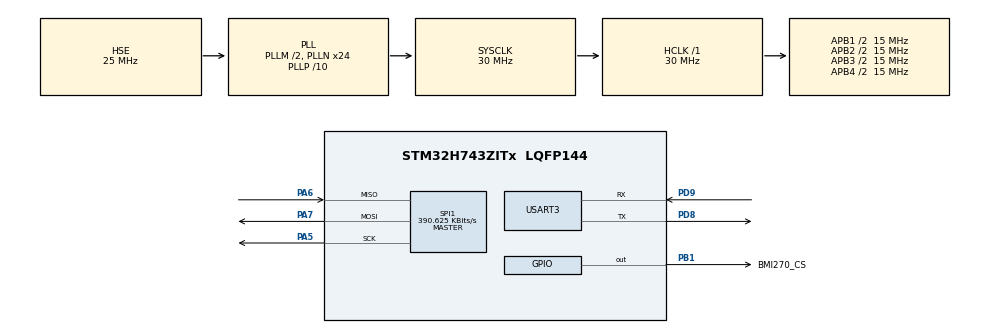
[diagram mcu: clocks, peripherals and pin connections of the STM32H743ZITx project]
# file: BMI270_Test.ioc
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CORTEX_M7.default_mode_Activation=1
Mcu.Family=STM32H7
Mcu.Name=STM32H743ZITx
Mcu.Package=LQFP144
NVIC.PriorityGroup=NVIC_PRIORITYGROUP_4
NVIC.USART3_IRQn=true\:0\:0\:false\:false\:true\:true\:true\:true
PA5.GPIO_Mode=GPIO_MODE_AF_PP
PA5.GPIO_PuPd=GPIO_NOPULL
PA5.GPIO_Speed=GPIO_SPEED_FREQ_LOW
PA5.Mode=Full_Duplex_Master
PA5.Signal=SPI1_SCK
PA6.GPIO_Speed=GPIO_SPEED_FREQ_LOW
PA6.Mode=Full_Duplex_Master
PA6.Signal=SPI1_MISO
PA7.GPIO_Speed=GPIO_SPEED_FREQ_LOW
PA7.Mode=Full_Duplex_Master
PA7.Signal=SPI1_MOSI
PB1.GPIO_Label=BMI270_CS
PB1.GPIO_Speed=GPIO_SPEED_FREQ_LOW
PB1.PinState=GPIO_PIN_SET
PB1.Signal=GPIO_Output
PD8.Mode=Asynchronous
PD8.Signal=USART3_TX
PD9.Mode=Asynchronous
PD9.Signal=USART3_RX
PH0-OSC_IN\ (PH0).Mode=HSE-External-Oscillator
PH0-OSC_IN\ (PH0).Signal=RCC_OSC_IN
PH1-OSC_OUT\ (PH1).Mode=HSE-External-Oscillator
PH1-OSC_OUT\ (PH1).Signal=RCC_OSC_OUT
ProjectManager.HeapSize=0x200
ProjectManager.StackSize=0x400
ProjectManager.TargetToolchain=STM32CubeIDE
RCC.ADCFreq_Value=50390625
RCC.APB1Freq_Value=15000000
RCC.APB2Freq_Value=15000000
RCC.APB3Freq_Value=15000000
RCC.APB4Freq_Value=15000000
RCC.CortexFreq_Value=30000000
RCC.D1PPRE=RCC_APB3_DIV2
RCC.D2PPRE1=RCC_APB1_DIV2
RCC.D2PPRE2=RCC_APB2_DIV2
RCC.D3PPRE=RCC_APB4_DIV2
RCC.DIVM1=2
RCC.DIVN1=24
RCC.DIVP1=10
RCC.DIVQ1=3
RCC.HCLKFreq_Value=30000000
RCC.PLLSourceVirtual=RCC_PLLSOURCE_HSE
RCC.SYSCLKFreq_VALUE=30000000
RCC.SYSCLKSource=RCC_SYSCLKSOURCE_PLLCLK
RCC.USBFreq_Value=100000000
SPI1.BaudRatePrescaler=SPI_BAUDRATEPRESCALER_256
SPI1.CLKPhase=SPI_PHASE_2EDGE
SPI1.CLKPolarity=SPI_POLARITY_HIGH
SPI1.CalculateBaudRate=390.625 KBits/s
SPI1.DataSize=SPI_DATASIZE_8BIT
SPI1.Direction=SPI_DIRECTION_2LINES
SPI1.Mode=SPI_MODE_MASTER
SPI1.NSSPMode=SPI_NSS_PULSE_DISABLE
SPI1.VirtualType=VM_MASTER
USART3.VirtualMode-Asynchronous=VM_ASYNC
VP_MEMORYMAP_VS_MEMORYMAP.Mode=CurAppReg
board=custom

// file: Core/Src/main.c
/* USER CODE BEGIN Header */
/**
  ******************************************************************************
  * @file           : main.c
  * @brief          : Main program body
  ******************************************************************************
  * @attention
  *
  * Copyright (c) 2026 STMicroelectronics.
  * All rights reserved.
  *
  * This software is licensed under terms that can be found in the LICENSE file
  * in the root directory of this software component.
  * If no LICENSE file comes with this software, it is provided AS-IS.
  *
  ******************************************************************************
  */
/* USER CODE END Header */
#include "main.h"

/* USER CODE BEGIN Includes */
#include "bmi270.h"
#include <stdio.h>
#include <string.h> // Added for safety with strings

#define BMI270_CS_Pin GPIO_PIN_1
#define BMI270_CS_GPIO_Port GPIOB
/* USER CODE END Includes */

SPI_HandleTypeDef hspi1;

UART_HandleTypeDef huart3;

/* USER CODE BEGIN PV */
extern const uint8_t bmi270_config_file[];
#define BMI270_CHIP_ID_ADDR 0x80  // 0x00 | 0x80 for Read
#define BMI270_CMD_REG      0x7E
#define BMI270_PWR_CONF     0x7C
#define BMI270_PWR_CTRL     0x7D
#define BMI270_INIT_CTRL    0x59
#define BMI270_INIT_ADDR_0  0x5B
#define BMI270_INIT_ADDR_1  0x5C
#define BMI270_INIT_DATA    0x5E
#define BMI270_INTERNAL_STAT 0x21

uint8_t chipID = 0;
uint8_t sensor_data[12]; // To hold Accel and Gyro raw bytes
/* USER CODE END PV */

void SystemClock_Config(void);
static void MPU_Config(void);
static void MX_GPIO_Init(void);
static void MX_SPI1_Init(void);
static void MX_USART3_UART_Init(void);
float BMI270_ReadTemp(void);
/* USER CODE BEGIN PFP */
void BMI270_WriteReg(uint8_t reg, uint8_t data);
#ifdef __GNUC__
#define PUTCHAR_PROTOTYPE int __io_putchar(int ch)
#else
#define PUTCHAR_PROTOTYPE int fputc(int ch, FILE *f)
#endif

PUTCHAR_PROTOTYPE
{
  extern UART_HandleTypeDef huart3; // Use huart3 for Nucleo USB
  HAL_UART_Transmit(&huart3, (uint8_t *)&ch, 1, HAL_MAX_DELAY);
  return ch;
}
/* USER CODE END PFP */

/* USER CODE BEGIN 0 */

int8_t user_spi_read(uint8_t reg_addr, uint8_t *reg_data, uint32_t len, void *intf_ptr) {
    uint8_t tx_addr = reg_addr | 0x80; // Set bit 7 for Read
    uint8_t rx_buf[len + 1];           // Buffer for dummy + data
    memset(rx_buf, 0, len + 1);

    HAL_GPIO_WritePin(BMI270_CS_GPIO_Port, BMI270_CS_Pin, GPIO_PIN_RESET);

    // 1. Send the address
    if(HAL_SPI_Transmit(&hspi1, &tx_addr, 1, 100) != HAL_OK) {
        HAL_GPIO_WritePin(BMI270_CS_GPIO_Port, BMI270_CS_Pin, GPIO_PIN_SET);
        return -1;
    }

    // 2. Receive Dummy Byte + Actual Data
    if(HAL_SPI_Receive(&hspi1, rx_buf, len + 1, 100) != HAL_OK) {
        HAL_GPIO_WritePin(BMI270_CS_GPIO_Port, BMI270_CS_Pin, GPIO_PIN_SET);
        return -1;
    }

    HAL_GPIO_WritePin(BMI270_CS_GPIO_Port, BMI270_CS_Pin, GPIO_PIN_SET);

    // 3. Data starts at index 1 (rx_buf[0] is the dummy/empty byte)
    for(uint32_t i = 0; i < len; i++) {
        reg_data[i] = rx_buf[i + 1];
    }

    return 0;
}

void user_delay_us(uint32_t period, void *intf_ptr) {
    // Force a slower delay for the H7. 20ms becomes 30ms.
    HAL_Delay((period / 1000) + 10);
}

/* USER CODE END 0 */

int main(void)
{

  /* MPU Configuration--------------------------------------------------------*/
  MPU_Config();

  /* MCU Configuration--------------------------------------------------------*/

  /* Reset of all peripherals, Initializes the Flash interface and the Systick. */
  HAL_Init();

  /* Configure the system clock */
  SystemClock_Config();

  /* Initialize all configured peripherals */
  MX_GPIO_Init();
  MX_SPI1_Init();
  MX_USART3_UART_Init();
  /* USER CODE BEGIN 2 */
    uint8_t status = 0;

    // 1. Force SPI Mode (Toggle CSB)
    HAL_GPIO_WritePin(BMI270_CS_GPIO_Port, BMI270_CS_Pin, GPIO_PIN_SET);
    HAL_Delay(5);
    HAL_GPIO_WritePin(BMI270_CS_GPIO_Port, BMI270_CS_Pin, GPIO_PIN_RESET);
    HAL_Delay(1);
    HAL_GPIO_WritePin(BMI270_CS_GPIO_Port, BMI270_CS_Pin, GPIO_PIN_SET);
    HAL_Delay(5);

    // 2. READ SENSOR ID
    user_spi_read(0x00, &chipID, 1, NULL);

    // Bit-shift fix for the current clock mismatch
    if(chipID == 0x48) chipID = chipID >> 1;

    printf("BMI270 Chip ID Detected: 0x%02X\r\n", chipID);

    if(chipID != 0x24) {
        printf("Wrong Chip ID! Check SPI clock speed.\r\n");
    }

    // 3. SOFT RESET
    printf("Resetting sensor...\r\n");
    BMI270_WriteReg(BMI270_CMD_REG, 0xB6);
    HAL_Delay(100); // Increased delay for slower clock

    // 4. IMPORTANT: Re-select SPI mode after Reset
    HAL_GPIO_WritePin(BMI270_CS_GPIO_Port, BMI270_CS_Pin, GPIO_PIN_RESET);
    HAL_Delay(1);
    HAL_GPIO_WritePin(BMI270_CS_GPIO_Port, BMI270_CS_Pin, GPIO_PIN_SET);
    HAL_Delay(10);

    // 5. Prepare for Config (Disable advanced power save)
    BMI270_WriteReg(BMI270_PWR_CONF, 0x00);
    HAL_Delay(10);
    BMI270_WriteReg(BMI270_INIT_CTRL, 0x00);
    HAL_Delay(10);

    // 6. UPLOAD CONFIG (Ignore Receiver)
        printf("Starting Upload (Ignoring MISO)...\r\n");
        uint8_t init_addr = BMI270_INIT_DATA;

        // Change SPI to Transmit Only for the upload duration
        // Correct H7 way to set Simplex Transmit (ignores MISO)
        hspi1.Instance->CFG2 |= SPI_CFG2_COMM_0;

        HAL_GPIO_WritePin(BMI270_CS_GPIO_Port, BMI270_CS_Pin, GPIO_PIN_RESET);
        HAL_SPI_Transmit(&hspi1, &init_addr, 1, 100);
        HAL_SPI_Transmit(&hspi1, (uint8_t*)bmi270_config_file, 8192, 1000);
        HAL_GPIO_WritePin(BMI270_CS_GPIO_Port, BMI270_CS_Pin, GPIO_PIN_SET);

        // Switch back to 2-way communication
        // Restore Full-Duplex (2-way) communication
        hspi1.Instance->CFG2 &= ~SPI_CFG2_COMM;

        printf("Upload finished! Reconnect MISO now.\r\n");
        BMI270_WriteReg(BMI270_INIT_CTRL, 0x01); // Tell BMI270 to start firmware boot
        HAL_Delay(500); // Give it a long time to boot (0.5s)

    // 7. CHECK STATUS
    user_spi_read(0x21, &status, 1, NULL);
    if((status & 0x0F) == 0x01) {
        printf("BMI270 Initialization SUCCESS!\r\n");
    } else {
        printf("Initialization FAILED. Status: 0x%02X\r\n", status);
        // If 0x00, the 8KB file didn't load. Check SPI wires.
    }

    // 8. ENABLE SENSORS
    BMI270_WriteReg(BMI270_PWR_CTRL, 0x03);
    BMI270_WriteReg(BMI270_PWR_CONF, 0x02);
  /* USER CODE END 2 */

    /* Infinite loop */
      /* USER CODE BEGIN WHILE */
      while (1)
      {
          // 1. Force Power Control: Enable Accel (bit 2), Gyro (bit 1), and Temperature (bit 3)
          BMI270_WriteReg(0x7D, 0x0E);

          // 2. Read 12 bytes starting from Register 0x0C (Accel + Gyro data)
          if (user_spi_read(0x0C, sensor_data, 12, NULL) == 0) {
        	  float current_temp = BMI270_ReadTemp();

              // Convert to signed 16-bit integers
              int16_t acc_x_raw = (int16_t)((sensor_data[1] << 8) | sensor_data[0]);
              int16_t acc_y_raw = (int16_t)((sensor_data[3] << 8) | sensor_data[2]);
              int16_t acc_z_raw = (int16_t)((sensor_data[5] << 8) | sensor_data[4]);

              int16_t gyr_x_raw = (int16_t)((sensor_data[7] << 8) | sensor_data[6]);
              int16_t gyr_y_raw = (int16_t)((sensor_data[9] << 8) | sensor_data[8]);
              int16_t gyr_z_raw = (int16_t)((sensor_data[11] << 8) | sensor_data[10]);

              // Convert to physical units
              float g_x = (float)acc_x_raw / 16384.0f;
              float g_y = (float)acc_y_raw / 16384.0f;
              float g_z = (float)acc_z_raw / 16384.0f;

              float dps_x = (float)gyr_x_raw / 16.384f;
              float dps_y = (float)gyr_y_raw / 16.384f;
              float dps_z = (float)gyr_z_raw / 16.384f;

              // RECTIFICATION: Python script expects 7 values (temp + 6 sensor values)
              // Using a placeholder 25.0 for temp since get_bmi270_temp prototype was missing
              printf("%2f,%.3f,%.3f,%.3f,%.2f,%.2f,%.2f\r\n",
                     current_temp,g_x, g_y, g_z, dps_x, dps_y, dps_z);
          }

          HAL_Delay(20); // 50Hz for smooth VPython animation
        /* USER CODE END WHILE */
      }
}

void SystemClock_Config(void)
{
  RCC_OscInitTypeDef RCC_OscInitStruct = {0};
  RCC_ClkInitTypeDef RCC_ClkInitStruct = {0};

  /** Supply configuration update enable
  */
  HAL_PWREx_ConfigSupply(PWR_LDO_SUPPLY);

  /** Configure the main internal regulator output voltage
  */
  __HAL_PWR_VOLTAGESCALING_CONFIG(PWR_REGULATOR_VOLTAGE_SCALE3);

  while(!__HAL_PWR_GET_FLAG(PWR_FLAG_VOSRDY)) {}

  /** Initializes the RCC Oscillators according to the specified parameters
  * in the RCC_OscInitTypeDef structure.
  */
  RCC_OscInitStruct.OscillatorType = RCC_OSCILLATORTYPE_HSE;
  RCC_OscInitStruct.HSEState = RCC_HSE_ON;
  RCC_OscInitStruct.PLL.PLLState = RCC_PLL_ON;
  RCC_OscInitStruct.PLL.PLLSource = RCC_PLLSOURCE_HSE;
  RCC_OscInitStruct.PLL.PLLM = 2;
  RCC_OscInitStruct.PLL.PLLN = 24;
  RCC_OscInitStruct.PLL.PLLP = 10;
  RCC_OscInitStruct.PLL.PLLQ = 3;
  RCC_OscInitStruct.PLL.PLLR = 2;
  RCC_OscInitStruct.PLL.PLLRGE = RCC_PLL1VCIRANGE_3;
  RCC_OscInitStruct.PLL.PLLVCOSEL = RCC_PLL1VCOWIDE;
  RCC_OscInitStruct.PLL.PLLFRACN = 0;
  if (HAL_RCC_OscConfig(&RCC_OscInitStruct) != HAL_OK)
  {
    Error_Handler();
  }

  /** Initializes the CPU, AHB and APB buses clocks
  */
  RCC_ClkInitStruct.ClockType = RCC_CLOCKTYPE_HCLK|RCC_CLOCKTYPE_SYSCLK
                              |RCC_CLOCKTYPE_PCLK1|RCC_CLOCKTYPE_PCLK2
                              |RCC_CLOCKTYPE_D3PCLK1|RCC_CLOCKTYPE_D1PCLK1;
  RCC_ClkInitStruct.SYSCLKSource = RCC_SYSCLKSOURCE_PLLCLK;
  RCC_ClkInitStruct.SYSCLKDivider = RCC_SYSCLK_DIV1;
  RCC_ClkInitStruct.AHBCLKDivider = RCC_HCLK_DIV1;
  RCC_ClkInitStruct.APB3CLKDivider = RCC_APB3_DIV2;
  RCC_ClkInitStruct.APB1CLKDivider = RCC_APB1_DIV2;
  RCC_ClkInitStruct.APB2CLKDivider = RCC_APB2_DIV2;
  RCC_ClkInitStruct.APB4CLKDivider = RCC_APB4_DIV2;

  if (HAL_RCC_ClockConfig(&RCC_ClkInitStruct, FLASH_LATENCY_0) != HAL_OK)
  {
    Error_Handler();
  }
}

static void MX_SPI1_Init(void)
{

  /* SPI1 parameter configuration*/
  hspi1.Instance = SPI1;
  hspi1.Init.Mode = SPI_MODE_MASTER;
  hspi1.Init.Direction = SPI_DIRECTION_2LINES;
  hspi1.Init.DataSize = SPI_DATASIZE_8BIT;
  hspi1.Init.CLKPolarity = SPI_POLARITY_HIGH;
  hspi1.Init.CLKPhase = SPI_PHASE_2EDGE;
  hspi1.Init.NSS = SPI_NSS_SOFT;
  hspi1.Init.BaudRatePrescaler = SPI_BAUDRATEPRESCALER_256;
  hspi1.Init.FirstBit = SPI_FIRSTBIT_MSB;
  hspi1.Init.TIMode = SPI_TIMODE_DISABLE;
  hspi1.Init.CRCCalculation = SPI_CRCCALCULATION_DISABLE;
  hspi1.Init.CRCPolynomial = 0x0;
  hspi1.Init.NSSPMode = SPI_NSS_PULSE_DISABLE;
  hspi1.Init.NSSPolarity = SPI_NSS_POLARITY_LOW;
  hspi1.Init.FifoThreshold = SPI_FIFO_THRESHOLD_01DATA;
  hspi1.Init.TxCRCInitializationPattern = SPI_CRC_INITIALIZATION_ALL_ZERO_PATTERN;
  hspi1.Init.RxCRCInitializationPattern = SPI_CRC_INITIALIZATION_ALL_ZERO_PATTERN;
  hspi1.Init.MasterSSIdleness = SPI_MASTER_SS_IDLENESS_00CYCLE;
  hspi1.Init.MasterInterDataIdleness = SPI_MASTER_INTERDATA_IDLENESS_00CYCLE;
  hspi1.Init.MasterReceiverAutoSusp = SPI_MASTER_RX_AUTOSUSP_DISABLE;
  hspi1.Init.MasterKeepIOState = SPI_MASTER_KEEP_IO_STATE_DISABLE;
  hspi1.Init.IOSwap = SPI_IO_SWAP_DISABLE;
  if (HAL_SPI_Init(&hspi1) != HAL_OK)
  {
    Error_Handler();
  }

}

static void MX_USART3_UART_Init(void)
{

  huart3.Instance = USART3;
  huart3.Init.BaudRate = 115200;
  huart3.Init.WordLength = UART_WORDLENGTH_8B;
  huart3.Init.StopBits = UART_STOPBITS_1;
  huart3.Init.Parity = UART_PARITY_NONE;
  huart3.Init.Mode = UART_MODE_TX_RX;
  huart3.Init.HwFlowCtl = UART_HWCONTROL_NONE;
  huart3.Init.OverSampling = UART_OVERSAMPLING_16;
  huart3.Init.OneBitSampling = UART_ONE_BIT_SAMPLE_DISABLE;
  huart3.Init.ClockPrescaler = UART_PRESCALER_DIV1;
  huart3.AdvancedInit.AdvFeatureInit = UART_ADVFEATURE_NO_INIT;
  if (HAL_UART_Init(&huart3) != HAL_OK)
  {
    Error_Handler();
  }
  if (HAL_UARTEx_SetTxFifoThreshold(&huart3, UART_TXFIFO_THRESHOLD_1_8) != HAL_OK)
  {
    Error_Handler();
  }
  if (HAL_UARTEx_SetRxFifoThreshold(&huart3, UART_RXFIFO_THRESHOLD_1_8) != HAL_OK)
  {
    Error_Handler();
  }
  if (HAL_UARTEx_DisableFifoMode(&huart3) != HAL_OK)
  {
    Error_Handler();
  }

}

static void MX_GPIO_Init(void)
{
  GPIO_InitTypeDef GPIO_InitStruct = {0};

  /* GPIO Ports Clock Enable */
  __HAL_RCC_GPIOH_CLK_ENABLE();
  __HAL_RCC_GPIOA_CLK_ENABLE();
  __HAL_RCC_GPIOB_CLK_ENABLE();
  __HAL_RCC_GPIOD_CLK_ENABLE();

  /*Configure GPIO pin Output Level */
  HAL_GPIO_WritePin(BMI270_CS_GPIO_Port, BMI270_CS_Pin, GPIO_PIN_SET);

  /*Configure GPIO pin : BMI270_CS_Pin */
  GPIO_InitStruct.Pin = BMI270_CS_Pin;
  GPIO_InitStruct.Mode = GPIO_MODE_OUTPUT_PP;
  GPIO_InitStruct.Pull = GPIO_NOPULL;
  GPIO_InitStruct.Speed = GPIO_SPEED_FREQ_LOW;
  HAL_GPIO_Init(BMI270_CS_GPIO_Port, &GPIO_InitStruct);

}

/* USER CODE BEGIN 4 */
float BMI270_ReadTemp(void) {
    uint8_t temp_data[2];
    // BMI270 Temperature registers are 0x22 (LSB) and 0x23 (MSB)
    if (user_spi_read(0x22, temp_data, 2, NULL) == 0) {
        int16_t raw_temp = (int16_t)((temp_data[1] << 8) | temp_data[0]);

        /*
         * Bosch Formula:
         * temperature_value = (raw_temp_signed / 512) + 23
         * Each LSB is 0.001953125 degrees Celsius.
         */
        return ((float)raw_temp / 512.0f) + 23.0f;
    }
    return 0.0f;
}
void BMI270_WriteReg(uint8_t reg, uint8_t data) {
    HAL_GPIO_WritePin(BMI270_CS_GPIO_Port, BMI270_CS_Pin, GPIO_PIN_RESET); // CS LOW
    HAL_SPI_Transmit(&hspi1, &reg, 1, 100);              // Send Reg Address
    HAL_SPI_Transmit(&hspi1, &data, 1, 100);             // Send Data
    HAL_GPIO_WritePin(GPIOB, GPIO_PIN_1, GPIO_PIN_SET);   // CS HIGH
}
/* USER CODE END 4 */

 /* MPU Configuration */

void MPU_Config(void)
{
  MPU_Region_InitTypeDef MPU_InitStruct = {0};

  /* Disables the MPU */
  HAL_MPU_Disable();

  /** Initializes and configures the Region and the memory to be protected
  */
  MPU_InitStruct.Enable = MPU_REGION_ENABLE;
  MPU_InitStruct.Number = MPU_REGION_NUMBER0;
  MPU_InitStruct.BaseAddress = 0x0;
  MPU_InitStruct.Size = MPU_REGION_SIZE_4GB;
  MPU_InitStruct.SubRegionDisable = 0x87;
  MPU_InitStruct.TypeExtField = MPU_TEX_LEVEL0;
  MPU_InitStruct.AccessPermission = MPU_REGION_NO_ACCESS;
  MPU_InitStruct.DisableExec = MPU_INSTRUCTION_ACCESS_DISABLE;
  MPU_InitStruct.IsShareable = MPU_ACCESS_SHAREABLE;
  MPU_InitStruct.IsCacheable = MPU_ACCESS_NOT_CACHEABLE;
  MPU_InitStruct.IsBufferable = MPU_ACCESS_NOT_BUFFERABLE;

  HAL_MPU_ConfigRegion(&MPU_InitStruct);
  /* Enables the MPU */
  HAL_MPU_Enable(MPU_PRIVILEGED_DEFAULT);

}

void Error_Handler(void)
{
  __disable_irq();
  while (1)
  {
  }
}
